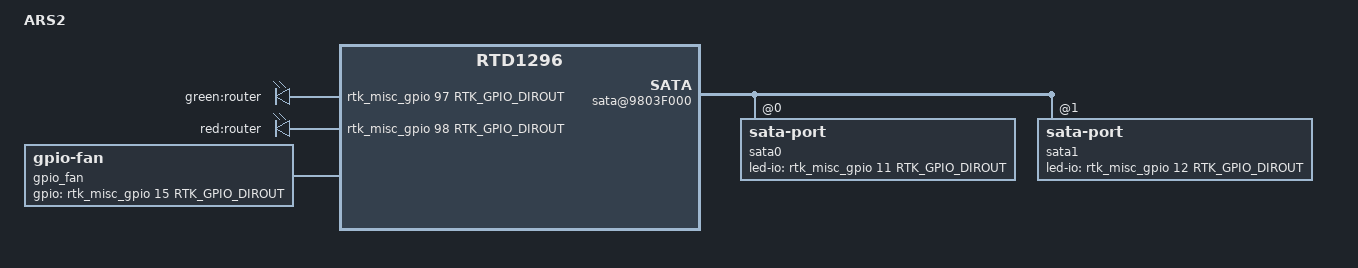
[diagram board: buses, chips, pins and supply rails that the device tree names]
/dts-v1/;

#include "rtd1296-4GB.dtsi"

/ {
	model= "ARS2";
	chosen {
		default-hostname = "ARS2";
	};

	aliases {
		led-boot = &led_green;
		led-failsafe = &led_red;
		led-running = &led_green;
		led-upgrade = &led_red;
	};

	hwnat: gmac@0x98060000 {
		mac0_enable = <0>; /* 0:disable, 1:enable */
	};

	sata@9803F000 {
		sata0: sata-port@0 {
			led-io = <&rtk_misc_gpio 11 RTK_GPIO_DIROUT 0>;
		};
		sata1: sata-port@1 {
			led-io = <&rtk_misc_gpio 12 RTK_GPIO_DIROUT 0>;
		};
	};

	leds {
		compatible = "gpio-leds";

		led_green: green {
			label = "green:router";
			gpios = <&rtk_misc_gpio 97 RTK_GPIO_DIROUT GPIO_ACTIVE_HIGH>;
			default-state = "on";
		};
		led_red: red {
			label = "red:router";
			gpios = <&rtk_misc_gpio 98 RTK_GPIO_DIROUT GPIO_ACTIVE_HIGH>;
		};
	};

	thermal@0x9801D100 {
		/* trip points -----------------------  */
		/*         | temp | hyst |   cdev    |  */
		/*         |      |      | id | data |  */
		trip-points = <
		/* 0 */    85      3    2      0
		/* 1 */   115      3    0      0
		/* 2 */   125      3    0      1
		/* 3 */   120      7    1      2
		/* 4 */   130      0    3      0
		>;
		/* freq range (KHz) to each trip point */
		cpufreq,freqs = <
		1300000 800000 /* bind to trip-point 1 */
		700000 300000 /* bind to trip-point 2 */
		>;
		/* cpu core list used by the cooling device */
		cpu-core,cpu-list = <&A53_3>, <&A53_2>;
	};

	gpio_fan {
		compatible = "gpio-fan";
		gpios = <&rtk_misc_gpio 15 RTK_GPIO_DIROUT GPIO_ACTIVE_HIGH>;
		gpio-fan,speed-map = <0 0>,
				<5000 1>;
		#cooling-cells = <2>; /* min followed by max */
	};
};
